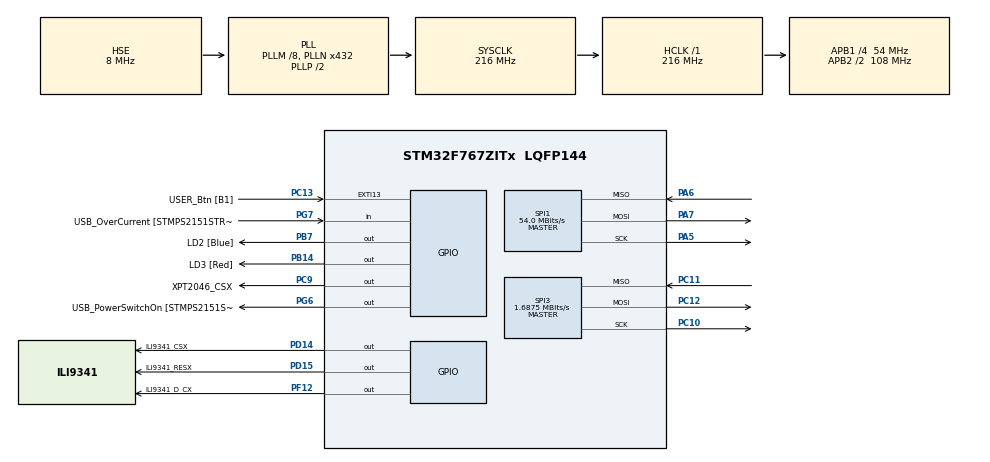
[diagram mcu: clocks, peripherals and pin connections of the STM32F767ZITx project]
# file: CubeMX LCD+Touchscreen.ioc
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CORTEX_M7.CPU_DCache=Enabled
CORTEX_M7.CPU_ICache=Enabled
CORTEX_M7.PREFETCH_ENABLE=1
Dma.Request0=SPI1_TX
Dma.SPI1_TX.0.Direction=DMA_MEMORY_TO_PERIPH
Dma.SPI1_TX.0.FIFOMode=DMA_FIFOMODE_DISABLE
Dma.SPI1_TX.0.Instance=DMA2_Stream3
Dma.SPI1_TX.0.MemDataAlignment=DMA_MDATAALIGN_BYTE
Dma.SPI1_TX.0.MemInc=DMA_MINC_ENABLE
Dma.SPI1_TX.0.Mode=DMA_NORMAL
Dma.SPI1_TX.0.PeriphDataAlignment=DMA_PDATAALIGN_BYTE
Dma.SPI1_TX.0.PeriphInc=DMA_PINC_DISABLE
Dma.SPI1_TX.0.Priority=DMA_PRIORITY_HIGH
Mcu.Family=STM32F7
Mcu.Name=STM32F767ZITx
Mcu.Package=LQFP144
NVIC.DMA2_Stream3_IRQn=true\:0\:0\:false\:false\:true\:false\:true\:true
NVIC.PriorityGroup=NVIC_PRIORITYGROUP_4
PA13.GPIO_Label=TMS
PA13.Signal=SYS_JTMS-SWDIO
PA14.GPIO_Label=TCK
PA14.Signal=SYS_JTCK-SWCLK
PA5.Mode=Full_Duplex_Master
PA5.Signal=SPI1_SCK
PA6.Mode=Full_Duplex_Master
PA6.Signal=SPI1_MISO
PA7.Mode=Full_Duplex_Master
PA7.Signal=SPI1_MOSI
PB14.GPIO_Label=LD3 [Red]
PB14.Signal=GPIO_Output
PB3.GPIO_Label=SW0
PB3.Signal=SYS_JTDO-SWO
PB7.GPIO_Label=LD2 [Blue]
PB7.GPIO_Speed=GPIO_SPEED_FREQ_LOW
PB7.Signal=GPIO_Output
PC10.Mode=Full_Duplex_Master
PC10.Signal=SPI3_SCK
PC11.Mode=Full_Duplex_Master
PC11.Signal=SPI3_MISO
PC12.Mode=Full_Duplex_Master
PC12.Signal=SPI3_MOSI
PC13.GPIO_Label=USER_Btn [B1]
PC13.Signal=GPXTI13
PC14/OSC32_IN.Signal=RCC_OSC32_IN
PC15/OSC32_OUT.Signal=RCC_OSC32_OUT
PC9.GPIO_Label=XPT2046_CSX
PC9.GPIO_Speed=GPIO_SPEED_FREQ_HIGH
PC9.PinState=GPIO_PIN_SET
PC9.Signal=GPIO_Output
PD14.GPIO_Label=ILI9341_CSX
PD14.GPIO_Speed=GPIO_SPEED_FREQ_HIGH
PD14.PinState=GPIO_PIN_SET
PD14.Signal=GPIO_Output
PD15.GPIO_Label=ILI9341_RESX
PD15.GPIO_Speed=GPIO_SPEED_FREQ_HIGH
PD15.Signal=GPIO_Output
PD8.GPIO_Label=STLK_RX [STM32F103CBT6_PA3]
PD8.Signal=USART3_TX
PD9.GPIO_Label=STLK_TX [STM32F103CBT6_PA2]
PD9.Signal=USART3_RX
PF12.GPIO_Label=ILI9341_D_CX
PF12.GPIO_Speed=GPIO_SPEED_FREQ_HIGH
PF12.PinState=GPIO_PIN_SET
PF12.Signal=GPIO_Output
PG6.GPIO_Label=USB_PowerSwitchOn [STMPS2151STR_EN]
PG6.Signal=GPIO_Output
PG7.GPIO_Label=USB_OverCurrent [STMPS2151STR_FAULT]
PG7.Signal=GPIO_Input
PH0/OSC_IN.GPIO_Label=MCO [STM32F103CBT6_PA8]
PH0/OSC_IN.Mode=HSE-External-Oscillator
PH0/OSC_IN.Signal=RCC_OSC_IN
PH1/OSC_OUT.Mode=HSE-External-Oscillator
PH1/OSC_OUT.Signal=RCC_OSC_OUT
ProjectManager.HeapSize=0x2000
ProjectManager.StackSize=0x4000
ProjectManager.TargetToolchain=STM32CubeIDE
RCC.48MHZClocksFreq_Value=24000000
RCC.AHBFreq_Value=216000000
RCC.APB1CLKDivider=RCC_HCLK_DIV4
RCC.APB1Freq_Value=54000000
RCC.APB1TimFreq_Value=108000000
RCC.APB2CLKDivider=RCC_HCLK_DIV2
RCC.APB2Freq_Value=108000000
RCC.APB2TimFreq_Value=216000000
RCC.CortexFreq_Value=216000000
RCC.HCLKFreq_Value=216000000
RCC.HSE_VALUE=8000000
RCC.HSI_VALUE=16000000
RCC.LSE_VALUE=32768
RCC.PLLM=8
RCC.PLLMUL=RCC_PLL_MUL9
RCC.PLLN=432
RCC.PLLSourceVirtual=RCC_PLLSOURCE_HSE
RCC.PRESCALERUSB=RCC_USBCLKSOURCE_PLL_DIV1_5
RCC.SYSCLKFreq_VALUE=216000000
RCC.SYSCLKSource=RCC_SYSCLKSOURCE_PLLCLK
RCC.SYSCLKSourceVirtual=RCC_SYSCLKSOURCE_PLLCLK
RCC.USBFreq_Value=216000000
RCC.VCOOutputFreq_Value=432000000
SPI1.CalculateBaudRate=54.0 MBits/s
SPI1.DataSize=SPI_DATASIZE_8BIT
SPI1.Direction=SPI_DIRECTION_2LINES
SPI1.Mode=SPI_MODE_MASTER
SPI1.VirtualType=VM_MASTER
SPI3.BaudRatePrescaler=SPI_BAUDRATEPRESCALER_32
SPI3.CalculateBaudRate=1.6875 MBits/s
SPI3.DataSize=SPI_DATASIZE_8BIT
SPI3.Direction=SPI_DIRECTION_2LINES
SPI3.Mode=SPI_MODE_MASTER
SPI3.VirtualType=VM_MASTER
board=NUCLEO-F767ZI

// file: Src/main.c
/**
  ******************************************************************************
  * File Name          : main.c
  * Description        : Main program body
  ******************************************************************************
  ** This notice applies to any and all portions of this file
  * that are not between comment pairs USER CODE BEGIN and
  * USER CODE END. Other portions of this file, whether
  * inserted by the user or by software development tools
  * are owned by their respective copyright owners.
  *
  * COPYRIGHT(c) 2017 STMicroelectronics
  *
  * Redistribution and use in source and binary forms, with or without modification,
  * are permitted provided that the following conditions are met:
  *   1. Redistributions of source code must retain the above copyright notice,
  *      this list of conditions and the following disclaimer.
  *   2. Redistributions in binary form must reproduce the above copyright notice,
  *      this list of conditions and the following disclaimer in the documentation
  *      and/or other materials provided with the distribution.
  *   3. Neither the name of STMicroelectronics nor the names of its contributors
  *      may be used to endorse or promote products derived from this software
  *      without specific prior written permission.
  *
  * THIS SOFTWARE IS PROVIDED BY THE COPYRIGHT HOLDERS AND CONTRIBUTORS "AS IS"
  * AND ANY EXPRESS OR IMPLIED WARRANTIES, INCLUDING, BUT NOT LIMITED TO, THE
  * IMPLIED WARRANTIES OF MERCHANTABILITY AND FITNESS FOR A PARTICULAR PURPOSE ARE
  * DISCLAIMED. IN NO EVENT SHALL THE COPYRIGHT HOLDER OR CONTRIBUTORS BE LIABLE
  * FOR ANY DIRECT, INDIRECT, INCIDENTAL, SPECIAL, EXEMPLARY, OR CONSEQUENTIAL
  * DAMAGES (INCLUDING, BUT NOT LIMITED TO, PROCUREMENT OF SUBSTITUTE GOODS OR
  * SERVICES; LOSS OF USE, DATA, OR PROFITS; OR BUSINESS INTERRUPTION) HOWEVER
  * CAUSED AND ON ANY THEORY OF LIABILITY, WHETHER IN CONTRACT, STRICT LIABILITY,
  * OR TORT (INCLUDING NEGLIGENCE OR OTHERWISE) ARISING IN ANY WAY OUT OF THE USE
  * OF THIS SOFTWARE, EVEN IF ADVISED OF THE POSSIBILITY OF SUCH DAMAGE.
  *
  ******************************************************************************
  */
#include "main.h"
#include "stm32f7xx_hal.h"
#include "dma.h"
#include "spi.h"
#include "gpio.h"

/* USER CODE BEGIN Includes */

#include "stm32f7xx_hal_spi.h"
#include "stm32f7xx_nucleo_144.h"
#include "JSB_ILI9341.h"
#include "JSB_XPT2046.h"
#include "go.h"

/* USER CODE END Includes */

/* USER CODE BEGIN PV */
/* Private variables ---------------------------------------------------------*/

/* USER CODE END PV */

void SystemClock_Config(void);

/* USER CODE BEGIN PFP */
/* Private function prototypes -----------------------------------------------*/

/* USER CODE END PFP */

int main(void)
{

  /* Enable I-Cache-------------------------------------------------------------*/
  SCB_EnableICache();

  /* Enable D-Cache-------------------------------------------------------------*/
  SCB_EnableDCache();

  /* MCU Configuration----------------------------------------------------------*/

  /* Reset of all peripherals, Initializes the Flash interface and the Systick. */
  HAL_Init();

  /* Configure the system clock */
  SystemClock_Config();

  /* USER CODE BEGIN SysInit */

  // Check clock speed:
  uint32_t hclk = HAL_RCC_GetHCLKFreq();
  if (hclk != 216000000)
    Error_Handler();

  /* USER CODE END SysInit */

  /* Initialize all configured peripherals */
  MX_GPIO_Init();
  MX_DMA_Init();
  MX_SPI1_Init();
  MX_SPI3_Init();

  /* USER CODE BEGIN 2 */

  BSP_LED_Init(LED_GREEN);
  BSP_LED_Init(LED_BLUE);
  BSP_LED_Init(LED_RED);

  BSP_PB_Init(BUTTON_USER, BUTTON_MODE_GPIO);

  ILI9341_Initialize(&hspi1, 0);
  XPT2046_Initialize(&hspi3);

  /* USER CODE END 2 */

  /* Infinite loop */
  /* USER CODE BEGIN WHILE */
  Go();
  /* USER CODE END WHILE */

}

/** System Clock Configuration
*/
void SystemClock_Config(void)
{

  RCC_OscInitTypeDef RCC_OscInitStruct;
  RCC_ClkInitTypeDef RCC_ClkInitStruct;

    /**Configure the main internal regulator output voltage
    */
  __HAL_RCC_PWR_CLK_ENABLE();

  __HAL_PWR_VOLTAGESCALING_CONFIG(PWR_REGULATOR_VOLTAGE_SCALE1);

    /**Initializes the CPU, AHB and APB busses clocks
    */
  RCC_OscInitStruct.OscillatorType = RCC_OSCILLATORTYPE_HSE;
  RCC_OscInitStruct.HSEState = RCC_HSE_ON;
  RCC_OscInitStruct.PLL.PLLState = RCC_PLL_ON;
  RCC_OscInitStruct.PLL.PLLSource = RCC_PLLSOURCE_HSE;
  RCC_OscInitStruct.PLL.PLLM = 8;
  RCC_OscInitStruct.PLL.PLLN = 432;
  RCC_OscInitStruct.PLL.PLLP = RCC_PLLP_DIV2;
  RCC_OscInitStruct.PLL.PLLQ = 2;
  if (HAL_RCC_OscConfig(&RCC_OscInitStruct) != HAL_OK)
  {
    _Error_Handler(__FILE__, __LINE__);
  }

    /**Activate the Over-Drive mode
    */
  if (HAL_PWREx_EnableOverDrive() != HAL_OK)
  {
    _Error_Handler(__FILE__, __LINE__);
  }

    /**Initializes the CPU, AHB and APB busses clocks
    */
  RCC_ClkInitStruct.ClockType = RCC_CLOCKTYPE_HCLK|RCC_CLOCKTYPE_SYSCLK
                              |RCC_CLOCKTYPE_PCLK1|RCC_CLOCKTYPE_PCLK2;
  RCC_ClkInitStruct.SYSCLKSource = RCC_SYSCLKSOURCE_PLLCLK;
  RCC_ClkInitStruct.AHBCLKDivider = RCC_SYSCLK_DIV1;
  RCC_ClkInitStruct.APB1CLKDivider = RCC_HCLK_DIV4;
  RCC_ClkInitStruct.APB2CLKDivider = RCC_HCLK_DIV2;

  if (HAL_RCC_ClockConfig(&RCC_ClkInitStruct, FLASH_LATENCY_7) != HAL_OK)
  {
    _Error_Handler(__FILE__, __LINE__);
  }

    /**Configure the Systick interrupt time
    */
  HAL_SYSTICK_Config(HAL_RCC_GetHCLKFreq()/1000);

    /**Configure the Systick
    */
  HAL_SYSTICK_CLKSourceConfig(SYSTICK_CLKSOURCE_HCLK);

  /* SysTick_IRQn interrupt configuration */
  HAL_NVIC_SetPriority(SysTick_IRQn, 0, 0);
}

void _Error_Handler(char * file, int line)
{
  while (1)
  {
  }
}

/************************ (C) COPYRIGHT STMicroelectronics *****END OF FILE****/
